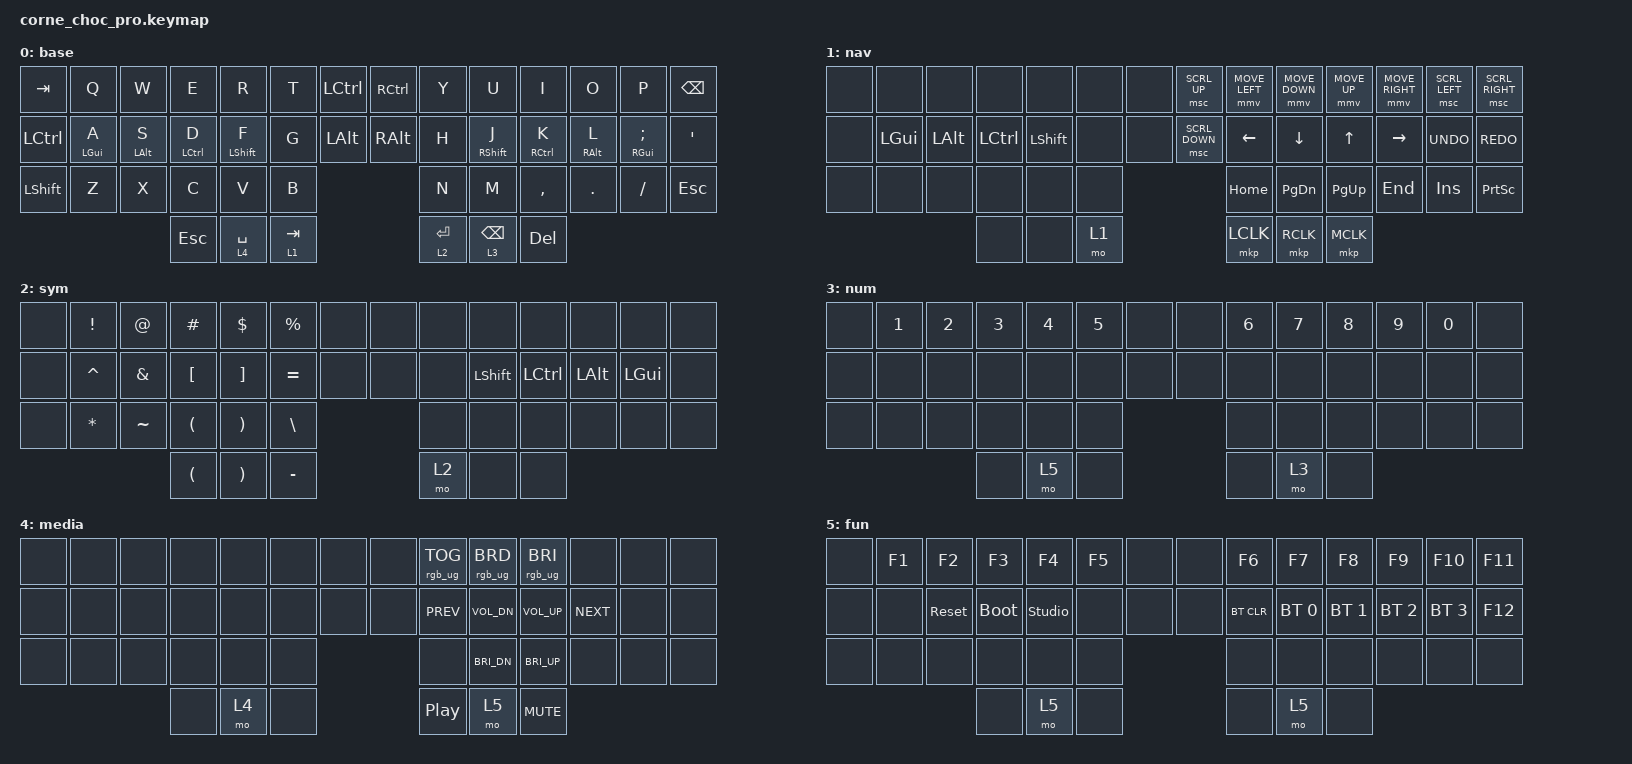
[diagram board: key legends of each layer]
/*
 * Copyright (c) 2020 The ZMK Contributors
 *
 * SPDX-License-Identifier: MIT
 */

#include <behaviors.dtsi>
#include <dt-bindings/zmk/bt.h>
#include <dt-bindings/zmk/keys.h>
#include <dt-bindings/zmk/pointing.h>
#include <dt-bindings/zmk/rgb.h>

/ {
    chosen { zmk,physical-layout = &default_layout; };
};

/ {
    keymap {
        compatible = "zmk,keymap";

        base {
            display-name = "base";

            // --------------------------------------------------------------------------------
            // |  TAB |  Q  |  W  |  E  |  R  |  T  |  MUTE |  PP   |  Y  |  U   |  I  |  O  |  P  | BSPC |
            // | CTRL |  A  |  S  |  D  |  F  |  G  |  LALT |  RALT |  H  |  J   |  K  |  L  |  ;  |  '   |
            // | SHFT |  Z  |  X  |  C  |  V  |  B  |               |  N  |  M   |  ,  |  .  |  /  | ESC  |
            //                    | GUI | LWR | SPC |               | ENT | RSE  | ALT |

            bindings = <
&kp TAB    &kp Q       &kp W       &kp E        &kp R        &kp T      &kp LCTRL  &kp RCTRL  &kp Y        &kp U            &kp I        &kp O       &kp P          &kp BACKSPACE
&kp LCTRL  &mt LGUI A  &mt LALT S  &mt LCTRL D  &mt LSHFT F  &kp G      &kp LALT   &kp RALT   &kp H        &mt RSHFT J      &mt RCTRL K  &mt RALT L  &mt RGUI SEMI  &kp SQT
&kp LSHFT  &kp Z       &kp X       &kp C        &kp V        &kp B                            &kp N        &kp M            &kp COMMA    &kp DOT     &kp FSLH       &kp ESC
                                   &kp ESC      &lt 4 SPACE  &lt 1 TAB                        &lt 2 ENTER  &lt 3 BACKSPACE  &kp DEL
            >;
        };

        nav {
            bindings = <
&none  &none     &none     &none      &none      &none  &none  &msc SCRL_UP    &mmv MOVE_LEFT  &mmv MOVE_DOWN  &mmv MOVE_UP  &mmv MOVE_RIGHT  &msc SCRL_LEFT  &msc SCRL_RIGHT
&none  &kp LGUI  &kp LALT  &kp LCTRL  &kp LSHFT  &none  &none  &msc SCRL_DOWN  &kp LEFT        &kp DOWN        &kp UP        &kp RIGHT        &kp K_UNDO      &kp K_REDO
&none  &none     &none     &none      &none      &none                         &kp HOME        &kp PG_DN       &kp PG_UP     &kp END          &kp INSERT      &kp PRINTSCREEN
                           &none      &none      &mo 1                         &mkp LCLK       &mkp RCLK       &mkp MCLK
            >;

            label = "nav";
        };

        sym {
            bindings = <
&none  &kp EXCL   &kp AT     &kp HASH  &kp DLLR  &kp PRCNT  &none  &none  &none  &none      &none      &none     &none     &none
&none  &kp CARET  &kp AMPS   &kp LBKT  &kp RBKT  &kp EQUAL  &none  &none  &none  &kp LSHFT  &kp LCTRL  &kp LALT  &kp LGUI  &none
&none  &kp STAR   &kp TILDE  &kp LPAR  &kp RPAR  &kp BSLH                 &none  &none      &none      &none     &none     &none
                             &kp LPAR  &kp RPAR  &kp MINUS                &mo 2  &none      &none
            >;

            label = "sym";
        };

        num {
            bindings = <
&none  &kp N1  &kp N2  &kp N3  &kp N4  &kp N5  &none  &none  &kp N6  &kp N7  &kp N8  &kp N9  &kp N0  &none
&none  &none   &none   &none   &none   &none   &none  &none  &none   &none   &none   &none   &none   &none
&none  &none   &none   &none   &none   &none                 &none   &none   &none   &none   &none   &none
                       &none   &mo 5   &none                 &none   &mo 3   &none
            >;

            label = "num";
        };

        media {
            bindings = <
&none  &none  &none  &none  &none  &none  &none  &none  &rgb_ug RGB_TOG  &rgb_ug RGB_BRD  &rgb_ug RGB_BRI  &none       &none  &none
&none  &none  &none  &none  &none  &none  &none  &none  &kp C_PREV       &kp C_VOL_DN     &kp C_VOL_UP     &kp C_NEXT  &none  &none
&none  &none  &none  &none  &none  &none                &none            &kp C_BRI_DN     &kp C_BRI_UP     &none       &none  &none
                     &none  &mo 4  &none                &kp C_PP         &mo 5            &kp C_MUTE
            >;

            label = "media";
        };

        fun {
            bindings = <
&none  &kp F1  &kp F2      &kp F3       &kp F4          &kp F5  &none  &none  &kp F6      &kp F7        &kp F8        &kp F9        &kp F10       &kp F11
&none  &none   &sys_reset  &bootloader  &studio_unlock  &none   &none  &none  &bt BT_CLR  &bt BT_SEL 0  &bt BT_SEL 1  &bt BT_SEL 2  &bt BT_SEL 3  &kp F12
&none  &none   &none       &none        &none           &none                 &none       &none         &none         &none         &none         &none
                           &none        &mo 5           &none                 &none       &mo 5         &none
            >;

            label = "fun";
        };
    };
};
